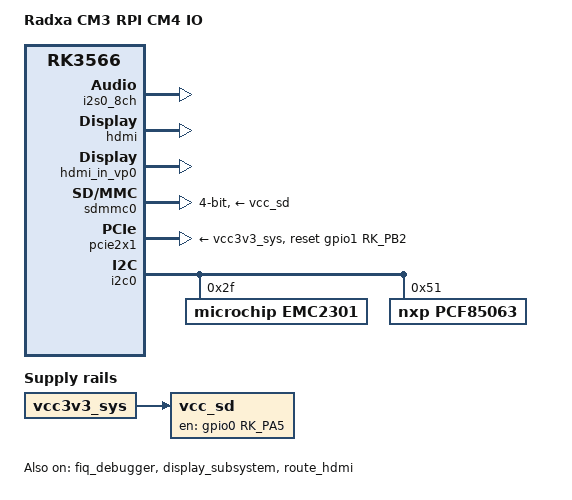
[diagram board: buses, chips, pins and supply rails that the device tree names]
// SPDX-License-Identifier: (GPL-2.0+ OR MIT)
/*
 * Copyright (c) 2024 Rockchip Electronics Co., Ltd.
 * Copyright (c) 2025 Radxa Computer (Shenzhen) Co., Ltd.
 *
 */

/dts-v1/;

// SPDX-License-Identifier: (GPL-2.0+ OR MIT)
/*
 * Copyright (c) 2020 Rockchip Electronics Co., Ltd.
 * Copyright (c) 2023 Radxa Limited.
 *
 */

/dts-v1/;

#include "rk3566-radxa-cm3.dtsi"

/ {
	model = "Radxa CM3 RPI CM4 IO";
	compatible = "radxa,cm3-rpi-cm4-io", "radxa,cm3", "rockchip,rk3566";

	vcc_sd: sdmmc-regulator {
		compatible = "regulator-fixed";
		enable-active-high;
		gpio = <&gpio0 RK_PA5 GPIO_ACTIVE_HIGH>;
		pinctrl-names = "default";
		pinctrl-0 = <&sdmmc_pwren>;
		regulator-name = "vcc_sd";
		regulator-always-on;
		vin-supply = <&vcc3v3_sys>;
	};

	hdmi_sound: hdmi-sound {
		compatible = "simple-audio-card";
		simple-audio-card,format = "i2s";
		simple-audio-card,mclk-fs = <128>;
		simple-audio-card,name = "rockchip-hdmi0";

		simple-audio-card,cpu {
				sound-dai = <&i2s0_8ch>;
		};
		simple-audio-card,codec {
				sound-dai = <&hdmi>;
		};
	};
};

&fiq_debugger {
	status = "okay";
};

&i2s0_8ch {
	status = "okay";
};

&display_subsystem {
	status = "okay";
};

&hdmi {
	status = "okay";
	preset_max_hdisplay = <1920>;
	preset_max_vdisplay = <1080>;
	preset_as_preferred;
};

&hdmi_in_vp0 {
	status = "okay";
};

&hdmi_in_vp1 {
	status = "disabled";
};

&hdmi_sound {
	status = "okay";
};

&route_hdmi {
	status = "okay";
	connect = <&vp0_out_hdmi>;
};

&gpio_leds {
	pi-led-green {
		gpio = <&gpio4 RK_PA4 GPIO_ACTIVE_LOW>;
		linux,default-trigger = "heartbeat";
		default-state = "on";
		pinctrl-0 = <&pi_led>;
	};

	pwr-led-red {
		gpio = <&gpio4 RK_PB7 GPIO_ACTIVE_LOW>;
		linux,default-trigger = "default-on";
		pinctrl-0 = <&pwr_led>;
	};
};

&sdmmc0 {
	max-frequency = <150000000>;
	supports-sd;
	bus-width = <4>;
	cap-mmc-highspeed;
	cap-sd-highspeed;
	disable-wp;
	broken-cd;
	sd-uhs-sdr104;
	vmmc-supply = <&vcc_sd>;
	vqmmc-supply = <&vccio_sd>;
	pinctrl-names = "default";
	pinctrl-0 = <&sdmmc0_bus4 &sdmmc0_clk &sdmmc0_cmd>;
	status = "okay";
};

&pcie2x1 {
	reset-gpios = <&gpio1 RK_PB2 GPIO_ACTIVE_HIGH>;
	vpcie3v3-supply = <&vcc3v3_sys>;
	pinctrl-0 = <&pcie20m2_pins>;
	status = "okay";
};

&i2c0 {
	status = "okay";
	pinctrl-name = "default";
	pinctrl-0 = <&i2c0_xfer>;
	#address-cells = <1>;
	#size-cells = <0>;

	emc2301: emc2301@2f {
		status = "okay";
		compatible = "microchip,emc2301";
		reg = <0x2f>;
		#address-cells = <1>;
		#size-cells = <0>;
		#cooling-cells = <2>;
		microchip,pwm-separate;
		microchip,cooling-levels = <10>;
		channel@0 {
			reg = <0>;
			pwm-min = <0>;
		};
	};

	pcf85063: pcf85063@51 {
		compatible = "nxp,pcf85063";
		status = "okay";
		reg = <0x51>;
		quartz-load-femtofarads = <12500>;
	};
};

&rk817 {
	rtc {
		status = "disabled";
	};
};

&threshold {
	temperature = <60000>;
};

&soc_thermal {
	cooling-maps {
		sustainable-power = <5000>; /* milliwatts */
		map2 {
			trip = <&target>;
			cooling-device =
				<&emc2301 THERMAL_NO_LIMIT THERMAL_NO_LIMIT>;
			contribution = <8192>;
		};
		map3 {
			trip = <&threshold>;
			cooling-device =
				<&emc2301 THERMAL_NO_LIMIT THERMAL_NO_LIMIT>;
			contribution = <8192>;
		};
	};
};

&pinctrl {
	leds {
		pi_led: pi-led {
			rockchip,pins = <4 RK_PA4 RK_FUNC_GPIO &pcfg_pull_none>;
		};

		pwr_led: pwr-led {
			rockchip,pins = <4 RK_PB7 RK_FUNC_GPIO &pcfg_pull_none>;
		};
	};

	sdcard {
		sdmmc_pwren: sdmmc-pwren {
			rockchip,pins = <0 RK_PA5 RK_FUNC_GPIO &pcfg_pull_none>;
		};
	};
};

&gpio0 {
	gpio-line-names =
		/* GPIO0_A0-A3 */
		"", "", "", "",
		/* GPIO0_A4-A7 */
		"", "", "", "",

		/* GPIO0_B0-B3 */
		"", "", "", "",
		/* GPIO0_B4-B7 */
		"", "PIN_5", "PIN_3", "PIN_13",

		/* GPIO0_C0-C3 */
		"", "", "PIN_37", "PIN_15",
		/* GPIO0_C4-C7 */
		"", "PIN_31", "PIN_33", "PIN_11",

		/* GPIO0_D0-D3 */
		"PIN_10", "PIN_8", "", "",
		/* GPIO0_D4-D7 */
		"", "", "", "";
};

&gpio1 {
	gpio-line-names =
		/* GPIO1_A0-A3 */
		"", "", "", "",
		/* GPIO1_A4-A7 */
		"", "", "", "",

		/* GPIO1_B0-B3 */
		"", "", "", "",
		/* GPIO1_B4-B7 */
		"", "", "", "",

		/* GPIO1_C0-C3 */
		"", "", "", "",
		/* GPIO1_C4-C7 */
		"", "", "", "",

		/* GPIO1_D0-D3 */
		"", "", "", "",
		/* GPIO1_D4-D7 */
		"", "", "", "";
};

&gpio2 {
	gpio-line-names =
		/* GPIO2_A0-A3 */
		"", "", "", "",
		/* GPIO2_A4-A7 */
		"", "", "", "",

		/* GPIO2_B0-B3 */
		"", "", "", "",
		/* GPIO2_B4-B7 */
		"", "", "", "",

		/* GPIO2_C0-C3 */
		"", "", "", "",
		/* GPIO2_C4-C7 */
		"", "", "", "",

		/* GPIO2_D0-D3 */
		"", "", "", "",
		/* GPIO2_D4-D7 */
		"", "", "", "";
};

&gpio3 {
	gpio-line-names =
		/* GPIO3_A0-A3 */
		"", "", "", "",
		/* GPIO3_A4-A7 */
		"", "", "", "",

		/* GPIO3_B0-B3 */
		"", "", "", "",
		/* GPIO3_B4-B7 */
		"", "", "", "",

		/* GPIO3_C0-C3 */
		"", "", "", "",
		/* GPIO3_C4-C7 */
		"", "", "PIN_22", "PIN_12",

		/* GPIO3_D0-D3 */
		"PIN_35", "PIN_40", "PIN_38", "PIN_18",
		/* GPIO3_D4-D7 */
		"PIN_16", "PIN_7", "", "";
};

&gpio4 {
	gpio-line-names =
		/* GPIO4_A0-A3 */
		"", "", "", "",
		/* GPIO4_A4-A7 */
		"", "", "PIN_24", "PIN_36",

		/* GPIO4_B0-B3 */
		"PIN_21", "PIN_29", "PIN_19", "PIN_23",
		/* GPIO4_B4-B7 */
		"PIN_27", "PIN_28", "", "",

		/* GPIO4_C0-C3 */
		"PIN_32", "", "", "",
		/* GPIO4_C4-C7 */
		"", "", "", "",

		/* GPIO4_D0-D3 */
		"", "", "", "",
		/* GPIO4_D4-D7 */
		"", "", "", "";
};
